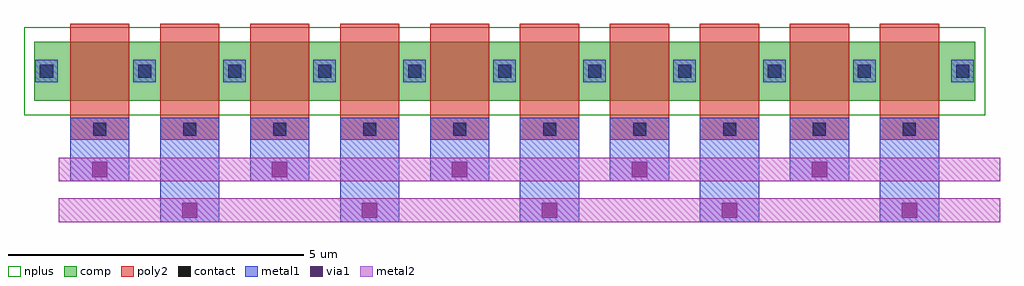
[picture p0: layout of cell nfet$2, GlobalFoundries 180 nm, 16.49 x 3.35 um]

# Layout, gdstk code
import gdstk
lib = gdstk.Library(unit=1e-6, precision=1e-09)
def R(c, l, rs):  # rectangles x0, y0, x1, y1
    for r in rs: c.add(gdstk.rectangle(r[:2], r[2:], *l))
def A(c, l, x, y, w, h, nx, ny, dx, dy):  # array of equal rectangles
    R(c, l, [(x+i*dx, y+j*dy, x+i*dx+w, y+j*dy+h) for i in range(nx) for j in range(ny)])
comp = (22, 0)
poly2 = (30, 0)
nplus = (32, 0)
contact = (33, 0)
metal1 = (34, 0)
via1 = (35, 0)
metal2 = (36, 0)

nfet_2 = lib.new_cell('nfet$2')
R(nfet_2, comp, [(-0.42,0,15.48,1)])
A(nfet_2, poly2, 0.19, -0.66, 1, 1.96, 10, 1, 1.52, 0)
R(nfet_2, nplus, [(-0.59,-0.24,15.65,1.24)])
A(nfet_2, contact, 0.58, -0.59, 0.22, 0.22, 10, 1, 1.52, 0)
A(nfet_2, contact, 1.34, 0.39, 0.22, 0.22, 9, 1, 1.52, 0)
R(nfet_2, contact, [(-0.32,0.39,-0.1,0.61), (15.16,0.39,15.38,0.61)])
A(nfet_2, metal1, 1.71, -2.05, 1, 1.76, 5, 1, 3.04, 0)
A(nfet_2, metal1, 0.19, -1.36, 1, 1.07, 5, 1, 3.04, 0)
A(nfet_2, metal1, 1.26, 0.31, 0.38, 0.38, 9, 1, 1.52, 0)
R(nfet_2, metal1, [(-0.4,0.31,-0.02,0.69), (15.08,0.31,15.46,0.69)])
A(nfet_2, via1, 2.08, -1.98, 0.26, 0.26, 5, 1, 3.04, 0)
A(nfet_2, via1, 0.56, -1.29, 0.26, 0.26, 5, 1, 3.04, 0)
R(nfet_2, metal2, [(0,-2.05,15.9,-1.65), (0,-1.36,15.9,-0.96)])

lib.write_gds('nfet_2.gds')
